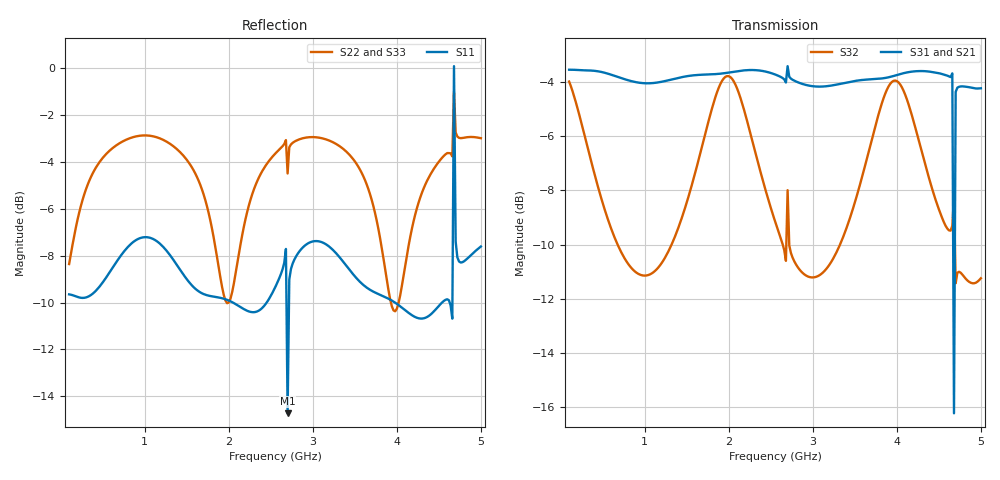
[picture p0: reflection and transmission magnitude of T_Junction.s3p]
! Sonnet Data File
! From: sonnet Version : 18.53-Lite
! From Emgraph Data:
! Data File Written: 07/02/2025 05:58:26
!< HDATE 07/02/2025 05:53:16
!< MDATE 07/02/2025 05:53:16
!< PARAMS
!< W_50 = 1.13
!< L0 = 45.0
!< W_100 = 0.272
!< L1 = 47.3
!< END PARAMS
# GHZ S MA R 50.00000
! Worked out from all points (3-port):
!   246 points, 100 MHz to 5 GHz, reference 50 ohm
!   strongest paths, dB at 100 MHz, 1.32 GHz, 2.56 GHz, 3.78 GHz, 5 GHz:
!     S31: -3.5, -3.9, -3.7, -3.9, -4.2
!     S21: -3.5, -3.9, -3.8, -3.7, -4.2
!     S32: -4.0, -10.0, -9.2, -5.2, -11.2
!   lowest |S11| = -14.7 dB at 2.7 GHz (marker M1), VSWR 1.45, Z = 60.1 - j17.8 ohm
!   |S11| at or under -10 dB: 2.05 GHz to 2.45 GHz (399.8 MHz wide, 17.8 % of centre); 3.979 GHz to 4.537 GHz (558.5 MHz wide, 13.1 % of centre); 4.629 GHz to 4.661 GHz (32.44 MHz wide, 0.698 % of centre)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
0.1  0.3293 142.3  0.6649 -18.3  0.6652 -18.2
     0.6649 -18.3  0.3822 125.1  0.6326 -29.0
     0.6652 -18.2  0.6326 -29.0  0.3817 125.2
0.48  0.3454 -5.2  0.6573 -88.1  0.6591 -87.9
      0.6573 -88.1  0.6374 40.6  0.3862 -110.5
      0.6591 -87.9  0.3862 -110.5  0.6354 40.9
0.92  0.4323 -156.8  0.6296 -166.5  0.6299 -166.4
      0.6296 -166.5  0.7171 4.9  0.2794 -171.8
      0.6299 -166.4  0.2794 -171.8  0.7161 5.4
1.54  0.3475 -3.8  0.6532 83.4  0.6484 84.1
      0.6532 83.4  0.6232 -44.5  0.3971 103.6
      0.6484 84.1  0.3971 103.6  0.6308 -44.0
2  0.3195 -177.4  0.6548 -1.0  0.6573 0.8
   0.6548 -1.0  0.3163 171.2  0.6471 -4.7
   0.6573 0.8  0.6471 -4.7  0.3136 175.2
2.56  0.3433 -39.1  0.6436 -104.0  0.6511 -103.2
      0.6436 -104.0  0.6597 31.4  0.3456 -126.2
      0.6511 -103.2  0.3456 -126.2  0.6521 32.8
2.7  0.1835 -51.3  0.6697 -115.5  0.6753 -114.8
     0.6697 -115.5  0.5964 19.8  0.3985 -148.5
     0.6753 -114.8  0.3985 -148.5  0.5898 21.1
3.46  0.3671 24.3  0.6415 97.2  0.6325 98.3
      0.6415 97.2  0.6467 -37.6  0.3611 113.3
      0.6325 98.3  0.3611 113.3  0.6564 -35.6
4.04  0.3105 168.4  0.6453 -10.2  0.653 -6.1
      0.6453 -10.2  0.3279 139.3  0.6248 -20.3
      0.653 -6.1  0.6248 -20.3  0.3129 147.1
5  0.4166 172.1  0.6157 176.5  0.6147 177.6
   0.6157 176.5  0.7095 -2.4  0.274 173.9
   0.6147 177.6  0.274 173.9  0.7105 -0.2
